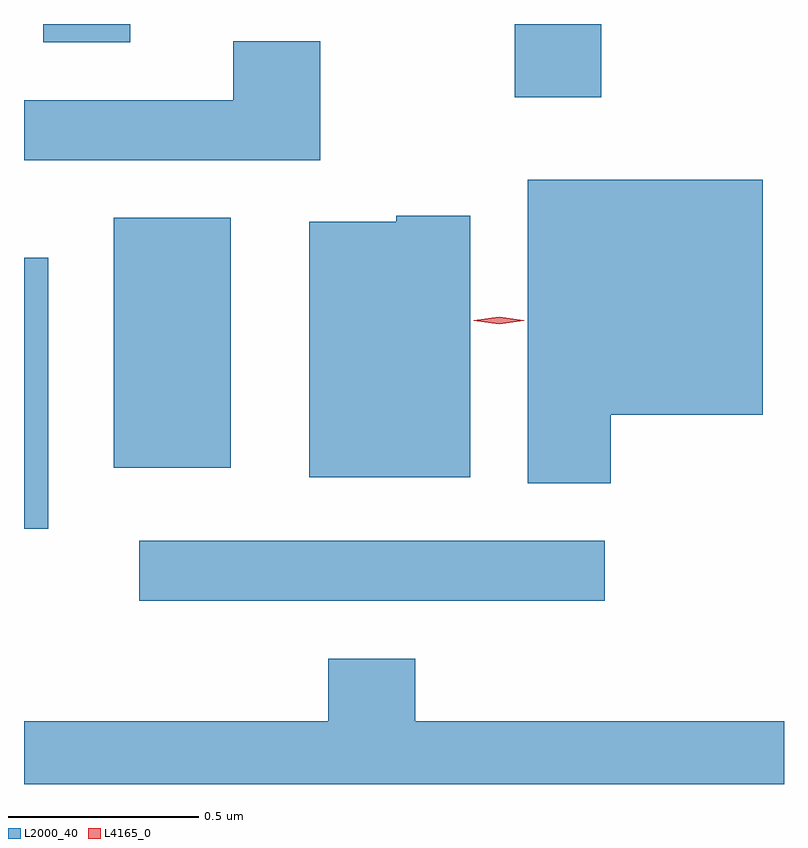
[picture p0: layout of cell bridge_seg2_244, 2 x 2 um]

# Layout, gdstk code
import gdstk
lib = gdstk.Library(unit=1e-6, precision=1e-09)
def R(c, l, rs):  # rectangles x0, y0, x1, y1
    for r in rs: c.add(gdstk.rectangle(r[:2], r[2:], *l))
def P(c, l, *ps):  # polygons
    for p in ps: c.add(gdstk.Polygon(p, *l))
L2000_40 = (2000, 40)
L4165_0 = (4165, 0)

bridge_seg2_244 = lib.new_cell('bridge_seg2_244')
R(bridge_seg2_244, L2000_40, [(616.443,1091.081,617.668,1091.239), (616.14,1091.271,616.204,1091.984), (616.376,1091.431,616.684,1092.089), (617.431,1092.406,617.659,1092.599), (616.191,1092.551,616.419,1092.599)])
P(bridge_seg2_244, L2000_40, [(616.919,1092.554),(616.691,1092.554),(616.691,1092.399),(616.14,1092.399),(616.14,1092.241),(616.919,1092.241)],
  [(617.684,1091.571),(618.084,1091.571),(618.084,1092.189),(617.466,1092.189),(617.466,1091.391),(617.684,1091.391)],
  [(617.314,1092.094),(617.12,1092.094),(617.12,1092.079),(616.891,1092.079),(616.891,1091.406),(617.314,1091.406)],
  [(618.14,1090.764),(617.169,1090.764),(617.169,1090.929),(616.941,1090.929),(616.941,1090.764),(616.14,1090.764),(616.14,1090.599),(618.14,1090.599)])
P(bridge_seg2_244, L4165_0, [(617.39,1091.809),(617.324,1091.818),(617.324,1091.819),(617.324,1091.819),(617.39,1091.829),(617.455,1091.82),(617.456,1091.819),(617.455,1091.818)])

lib.write_gds('bridge_seg2_244.gds')
